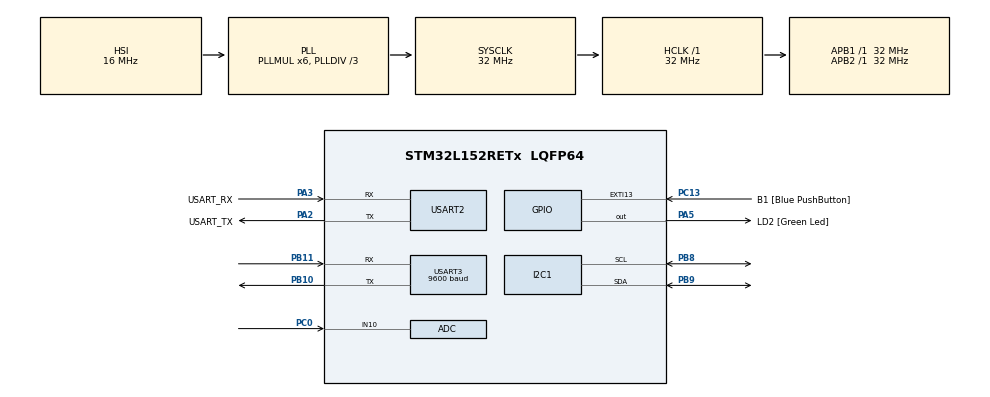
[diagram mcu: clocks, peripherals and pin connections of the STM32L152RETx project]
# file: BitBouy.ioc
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ADC.Channel-3\#ChannelRegularConversion=ADC_CHANNEL_10
ADC.NbrOfConversionFlag=1
ADC.Rank-3\#ChannelRegularConversion=1
ADC.SamplingTime-3\#ChannelRegularConversion=ADC_SAMPLETIME_4CYCLES
Mcu.Family=STM32L1
Mcu.Name=STM32L152RETx
Mcu.Package=LQFP64
NVIC.EXTI15_10_IRQn=true\:0\:0\:false\:false\:true\:true\:true\:true
NVIC.PriorityGroup=NVIC_PRIORITYGROUP_0
NVIC.RTC_WKUP_IRQn=true\:0\:0\:false\:false\:true\:true\:true\:true
NVIC.USART2_IRQn=true\:0\:0\:false\:false\:true\:true\:true\:true
NVIC.USART3_IRQn=true\:0\:0\:false\:false\:true\:true\:true\:true
PA13.GPIO_Label=TMS
PA13.Mode=Serial_Wire
PA13.Signal=SYS_JTMS-SWDIO
PA14.GPIO_Label=TCK
PA14.Mode=Serial_Wire
PA14.Signal=SYS_JTCK-SWCLK
PA2.GPIO_Label=USART_TX
PA2.Mode=Asynchronous
PA2.Signal=USART2_TX
PA3.GPIO_Label=USART_RX
PA3.Mode=Asynchronous
PA3.Signal=USART2_RX
PA5.GPIO_Label=LD2 [Green Led]
PA5.Signal=GPIO_Output
PB10.Mode=Asynchronous
PB10.Signal=USART3_TX
PB11.Mode=Asynchronous
PB11.Signal=USART3_RX
PB3.GPIO_Label=SWO
PB3.Signal=SYS_JTDO-TRACESWO
PB8.Mode=I2C
PB8.Signal=I2C1_SCL
PB9.Mode=I2C
PB9.Signal=I2C1_SDA
PC0.Mode=IN10
PC0.Signal=ADC_IN10
PC13-WKUP2.GPIO_Label=B1 [Blue PushButton]
PC13-WKUP2.GPIO_ModeDefaultEXTI=GPIO_MODE_IT_RISING
PC13-WKUP2.Signal=GPXTI13
PC14-OSC32_IN.Mode=LSE-External-Oscillator
PC14-OSC32_IN.Signal=RCC_OSC32_IN
PC15-OSC32_OUT.Mode=LSE-External-Oscillator
PC15-OSC32_OUT.Signal=RCC_OSC32_OUT
PH0-OSC_IN.Mode=HSE-External-Clock-Source
PH0-OSC_IN.Signal=RCC_OSC_IN
PH1-OSC_OUT.Signal=RCC_OSC_OUT
ProjectManager.HeapSize=0x200
ProjectManager.StackSize=0x400
ProjectManager.TargetToolchain=STM32CubeIDE
RCC.48MHZClocksFreq_Value=48000000
RCC.AHBFreq_Value=32000000
RCC.APB1Freq_Value=32000000
RCC.APB1TimFreq_Value=32000000
RCC.APB2Freq_Value=32000000
RCC.APB2TimFreq_Value=32000000
RCC.HCLKFreq_Value=32000000
RCC.HSE_VALUE=8000000
RCC.HSI_VALUE=16000000
RCC.MSI_VALUE=2097000
RCC.PLLDIV=RCC_PLL_DIV3
RCC.PLLMUL=RCC_PLL_MUL6
RCC.RTCClockSelectionVirtual=RCC_RTCCLKSOURCE_LSE
RCC.SYSCLKFreq_VALUE=32000000
RCC.SYSCLKSource=RCC_SYSCLKSOURCE_PLLCLK
RCC.USBOutput=48000000
RCC.VCOOutputFreq_Value=96000000
RTC.WakeUpCounter-WakeUp=0x500B
USART2.VirtualMode=VM_ASYNC
USART3.BaudRate=9600
USART3.VirtualMode=VM_ASYNC
VP_RTC_VS_RTC_Activate.Mode=RTC_Enabled
VP_RTC_VS_RTC_WakeUp_intern.Mode=WakeUp
board=NUCLEO-L152RE

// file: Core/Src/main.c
/* USER CODE BEGIN Header */
/**
  ******************************************************************************
  * @file           : main.c
  * @brief          : Main program body
  ******************************************************************************
  * @attention
  *
  * Copyright (c) 2024 STMicroelectronics.
  * All rights reserved.
  *
  * This software is licensed under terms that can be found in the LICENSE file
  * in the root directory of this software component.
  * If no LICENSE file comes with this software, it is provided AS-IS.
  *
  ******************************************************************************
  */
/* USER CODE END Header */
#include "main.h"

/* USER CODE BEGIN Includes */
#include "hc12.h"
#include "tds_sensor.h"
#include "queue.h"
#include "stlm75.h"
#include "hts221.h"

/* USER CODE END Includes */

/* USER CODE BEGIN PTD */
volatile uint8_t wakeup_counter = 0;
Queue message_queue;

/* USER CODE END PTD */

/* USER CODE BEGIN PD */
void UART3_Send_Command(const char *command);

/* USER CODE END PD */

ADC_HandleTypeDef hadc;

I2C_HandleTypeDef hi2c1;

RTC_HandleTypeDef hrtc;

UART_HandleTypeDef huart2;
UART_HandleTypeDef huart3;

/* USER CODE BEGIN PV */
float temperature = 0.0f;
/* USER CODE END PV */

void SystemClock_Config(void);
static void MX_GPIO_Init(void);
static void MX_USART2_UART_Init(void);
static void MX_USART3_UART_Init(void);
static void MX_ADC_Init(void);
static void MX_RTC_Init(void);
static void MX_I2C1_Init(void);

int main(void)
{

  /* MCU Configuration--------------------------------------------------------*/

  /* Reset of all peripherals, Initializes the Flash interface and the Systick. */
  HAL_Init();

  /* Configure the system clock */
  SystemClock_Config();

  /* Initialize all configured peripherals */
  MX_GPIO_Init();
  MX_USART2_UART_Init();
  MX_USART3_UART_Init();
  MX_ADC_Init();
  MX_RTC_Init();
  MX_I2C1_Init();
  /* USER CODE BEGIN 2 */
  init_queue(&message_queue);
  STLM75_HandleTypeDef stlm75;
  STLM75_Init(&stlm75, &hi2c1);
  HC12_Init(&huart3, &huart2);
  TDS_Sensor_Init(&hadc);
  HAL_RTCEx_SetWakeUpTimer_IT(&hrtc, 0x500B, RTC_WAKEUPCLOCK_RTCCLK_DIV16);

  HTS221_ReadCalibration(&hi2c1);
  float temp = 0;
  char buffer[50];
  /* USER CODE END 2 */

  /* Infinite loop */
  /* USER CODE BEGIN WHILE */
  while (1)
  {
	    HAL_SuspendTick();

	    __HAL_PWR_CLEAR_FLAG(PWR_FLAG_WU);
	    HAL_PWR_EnableWakeUpPin(PWR_WAKEUP_PIN1);

	    HAL_PWR_EnterSTOPMode(PWR_LOWPOWERREGULATOR_ON, PWR_STOPENTRY_WFI);

	    SystemClock_Config();

	    HAL_ResumeTick();

	    if (wakeup_counter >= 60) {
	        wakeup_counter = 0;

	        HAL_Delay(1000);

	        float humidity = HTS221_ReadHumidity(&hi2c1);

	        float tds_value = TDS_Sensor_Read();

	        float temperature = 0.0f;
	        if (STLM75_ReadTemperature(&stlm75, &temperature) == HAL_OK) {
	            char uart_buffer[128];
	            sprintf(uart_buffer, "Temperature: %.2f°C, TDS: %.2f, Humidity: %.2f%%\r\n", temperature, tds_value, humidity);
	            HAL_UART_Transmit(&huart2, (uint8_t*)uart_buffer, strlen(uart_buffer), HAL_MAX_DELAY);
	        } else {
	            char error_message[] = "Failed to read temperature from STLM75\r\n";
	            HAL_UART_Transmit(&huart2, (uint8_t*)error_message, strlen(error_message), HAL_MAX_DELAY);
	        }

	        char message[128];
	        sprintf(message, "ABCD1234,%.2f,%.2f,%.2f,%.2f,50.730066,18.106040,1730239978",
	                temperature, temperature, tds_value, humidity);

	        HAL_UART_Transmit(&huart2, (uint8_t*)message, strlen(message), HAL_MAX_DELAY);

	        HC12_Send_Data_With_Confirmation("REQUEST ABCD1234", message, &message_queue);
	    }

    /* USER CODE END WHILE */

  }
}

void SystemClock_Config(void)
{
  RCC_OscInitTypeDef RCC_OscInitStruct = {0};
  RCC_ClkInitTypeDef RCC_ClkInitStruct = {0};
  RCC_PeriphCLKInitTypeDef PeriphClkInit = {0};

  /** Configure the main internal regulator output voltage
  */
  __HAL_PWR_VOLTAGESCALING_CONFIG(PWR_REGULATOR_VOLTAGE_SCALE1);

  /** Initializes the RCC Oscillators according to the specified parameters
  * in the RCC_OscInitTypeDef structure.
  */
  RCC_OscInitStruct.OscillatorType = RCC_OSCILLATORTYPE_HSI|RCC_OSCILLATORTYPE_LSE;
  RCC_OscInitStruct.LSEState = RCC_LSE_ON;
  RCC_OscInitStruct.HSIState = RCC_HSI_ON;
  RCC_OscInitStruct.HSICalibrationValue = RCC_HSICALIBRATION_DEFAULT;
  RCC_OscInitStruct.PLL.PLLState = RCC_PLL_ON;
  RCC_OscInitStruct.PLL.PLLSource = RCC_PLLSOURCE_HSI;
  RCC_OscInitStruct.PLL.PLLMUL = RCC_PLL_MUL6;
  RCC_OscInitStruct.PLL.PLLDIV = RCC_PLL_DIV3;
  if (HAL_RCC_OscConfig(&RCC_OscInitStruct) != HAL_OK)
  {
    Error_Handler();
  }

  /** Initializes the CPU, AHB and APB buses clocks
  */
  RCC_ClkInitStruct.ClockType = RCC_CLOCKTYPE_HCLK|RCC_CLOCKTYPE_SYSCLK
                              |RCC_CLOCKTYPE_PCLK1|RCC_CLOCKTYPE_PCLK2;
  RCC_ClkInitStruct.SYSCLKSource = RCC_SYSCLKSOURCE_PLLCLK;
  RCC_ClkInitStruct.AHBCLKDivider = RCC_SYSCLK_DIV1;
  RCC_ClkInitStruct.APB1CLKDivider = RCC_HCLK_DIV1;
  RCC_ClkInitStruct.APB2CLKDivider = RCC_HCLK_DIV1;

  if (HAL_RCC_ClockConfig(&RCC_ClkInitStruct, FLASH_LATENCY_1) != HAL_OK)
  {
    Error_Handler();
  }
  PeriphClkInit.PeriphClockSelection = RCC_PERIPHCLK_RTC;
  PeriphClkInit.RTCClockSelection = RCC_RTCCLKSOURCE_LSE;
  if (HAL_RCCEx_PeriphCLKConfig(&PeriphClkInit) != HAL_OK)
  {
    Error_Handler();
  }
}

static void MX_ADC_Init(void)
{

  ADC_ChannelConfTypeDef sConfig = {0};

  /** Configure the global features of the ADC (Clock, Resolution, Data Alignment and number of conversion)
  */
  hadc.Instance = ADC1;
  hadc.Init.ClockPrescaler = ADC_CLOCK_ASYNC_DIV1;
  hadc.Init.Resolution = ADC_RESOLUTION_12B;
  hadc.Init.DataAlign = ADC_DATAALIGN_RIGHT;
  hadc.Init.ScanConvMode = ADC_SCAN_DISABLE;
  hadc.Init.EOCSelection = ADC_EOC_SEQ_CONV;
  hadc.Init.LowPowerAutoWait = ADC_AUTOWAIT_DISABLE;
  hadc.Init.LowPowerAutoPowerOff = ADC_AUTOPOWEROFF_DISABLE;
  hadc.Init.ChannelsBank = ADC_CHANNELS_BANK_A;
  hadc.Init.ContinuousConvMode = DISABLE;
  hadc.Init.NbrOfConversion = 1;
  hadc.Init.DiscontinuousConvMode = DISABLE;
  hadc.Init.ExternalTrigConv = ADC_SOFTWARE_START;
  hadc.Init.ExternalTrigConvEdge = ADC_EXTERNALTRIGCONVEDGE_NONE;
  hadc.Init.DMAContinuousRequests = DISABLE;
  if (HAL_ADC_Init(&hadc) != HAL_OK)
  {
    Error_Handler();
  }

  /** Configure for the selected ADC regular channel its corresponding rank in the sequencer and its sample time.
  */
  sConfig.Channel = ADC_CHANNEL_10;
  sConfig.Rank = ADC_REGULAR_RANK_1;
  sConfig.SamplingTime = ADC_SAMPLETIME_4CYCLES;
  if (HAL_ADC_ConfigChannel(&hadc, &sConfig) != HAL_OK)
  {
    Error_Handler();
  }

}

static void MX_I2C1_Init(void)
{

  hi2c1.Instance = I2C1;
  hi2c1.Init.ClockSpeed = 100000;
  hi2c1.Init.DutyCycle = I2C_DUTYCYCLE_2;
  hi2c1.Init.OwnAddress1 = 0;
  hi2c1.Init.AddressingMode = I2C_ADDRESSINGMODE_7BIT;
  hi2c1.Init.DualAddressMode = I2C_DUALADDRESS_DISABLE;
  hi2c1.Init.OwnAddress2 = 0;
  hi2c1.Init.GeneralCallMode = I2C_GENERALCALL_DISABLE;
  hi2c1.Init.NoStretchMode = I2C_NOSTRETCH_DISABLE;
  if (HAL_I2C_Init(&hi2c1) != HAL_OK)
  {
    Error_Handler();
  }

}

static void MX_RTC_Init(void)
{

  RTC_TimeTypeDef sTime = {0};
  RTC_DateTypeDef sDate = {0};

  /** Initialize RTC Only
  */
  hrtc.Instance = RTC;
  hrtc.Init.HourFormat = RTC_HOURFORMAT_24;
  hrtc.Init.AsynchPrediv = 127;
  hrtc.Init.SynchPrediv = 255;
  hrtc.Init.OutPut = RTC_OUTPUT_DISABLE;
  hrtc.Init.OutPutPolarity = RTC_OUTPUT_POLARITY_HIGH;
  hrtc.Init.OutPutType = RTC_OUTPUT_TYPE_OPENDRAIN;
  if (HAL_RTC_Init(&hrtc) != HAL_OK)
  {
    Error_Handler();
  }

  /** Initialize RTC and set the Time and Date
  */
  sTime.Hours = 0x0;
  sTime.Minutes = 0x0;
  sTime.Seconds = 0x0;
  sTime.DayLightSaving = RTC_DAYLIGHTSAVING_NONE;
  sTime.StoreOperation = RTC_STOREOPERATION_RESET;
  if (HAL_RTC_SetTime(&hrtc, &sTime, RTC_FORMAT_BCD) != HAL_OK)
  {
    Error_Handler();
  }
  sDate.WeekDay = RTC_WEEKDAY_MONDAY;
  sDate.Month = RTC_MONTH_JANUARY;
  sDate.Date = 0x1;
  sDate.Year = 0x0;

  if (HAL_RTC_SetDate(&hrtc, &sDate, RTC_FORMAT_BCD) != HAL_OK)
  {
    Error_Handler();
  }

  /** Enable the WakeUp
  */
  if (HAL_RTCEx_SetWakeUpTimer_IT(&hrtc, 0x500B, RTC_WAKEUPCLOCK_RTCCLK_DIV16) != HAL_OK)
  {
    Error_Handler();
  }

}

static void MX_USART2_UART_Init(void)
{

  huart2.Instance = USART2;
  huart2.Init.BaudRate = 115200;
  huart2.Init.WordLength = UART_WORDLENGTH_8B;
  huart2.Init.StopBits = UART_STOPBITS_1;
  huart2.Init.Parity = UART_PARITY_NONE;
  huart2.Init.Mode = UART_MODE_TX_RX;
  huart2.Init.HwFlowCtl = UART_HWCONTROL_NONE;
  huart2.Init.OverSampling = UART_OVERSAMPLING_16;
  if (HAL_UART_Init(&huart2) != HAL_OK)
  {
    Error_Handler();
  }

}

static void MX_USART3_UART_Init(void)
{

  huart3.Instance = USART3;
  huart3.Init.BaudRate = 9600;
  huart3.Init.WordLength = UART_WORDLENGTH_8B;
  huart3.Init.StopBits = UART_STOPBITS_1;
  huart3.Init.Parity = UART_PARITY_NONE;
  huart3.Init.Mode = UART_MODE_TX_RX;
  huart3.Init.HwFlowCtl = UART_HWCONTROL_NONE;
  huart3.Init.OverSampling = UART_OVERSAMPLING_16;
  if (HAL_UART_Init(&huart3) != HAL_OK)
  {
    Error_Handler();
  }

}

static void MX_GPIO_Init(void)
{
  GPIO_InitTypeDef GPIO_InitStruct = {0};

  /* GPIO Ports Clock Enable */
  __HAL_RCC_GPIOC_CLK_ENABLE();
  __HAL_RCC_GPIOH_CLK_ENABLE();
  __HAL_RCC_GPIOA_CLK_ENABLE();
  __HAL_RCC_GPIOB_CLK_ENABLE();

  /*Configure GPIO pin Output Level */
  HAL_GPIO_WritePin(LD2_GPIO_Port, LD2_Pin, GPIO_PIN_RESET);

  /*Configure GPIO pin : B1_Pin */
  GPIO_InitStruct.Pin = B1_Pin;
  GPIO_InitStruct.Mode = GPIO_MODE_IT_RISING;
  GPIO_InitStruct.Pull = GPIO_NOPULL;
  HAL_GPIO_Init(B1_GPIO_Port, &GPIO_InitStruct);

  /*Configure GPIO pin : LD2_Pin */
  GPIO_InitStruct.Pin = LD2_Pin;
  GPIO_InitStruct.Mode = GPIO_MODE_OUTPUT_PP;
  GPIO_InitStruct.Pull = GPIO_NOPULL;
  GPIO_InitStruct.Speed = GPIO_SPEED_FREQ_LOW;
  HAL_GPIO_Init(LD2_GPIO_Port, &GPIO_InitStruct);

  /* EXTI interrupt init*/
  HAL_NVIC_SetPriority(EXTI15_10_IRQn, 0, 0);
  HAL_NVIC_EnableIRQ(EXTI15_10_IRQn);

}

/* USER CODE BEGIN 4 */

void HAL_GPIO_EXTI_Callback(uint16_t GPIO_Pin) {
    if (GPIO_Pin == GPIO_PIN_13) {
        __HAL_PWR_CLEAR_FLAG(PWR_FLAG_WU);
        wakeup_counter = 62;
    }
}
void HAL_RTCEx_WakeUpTimerEventCallback(RTC_HandleTypeDef *hrtc) {
    __HAL_PWR_CLEAR_FLAG(PWR_FLAG_WU);
    wakeup_counter++;
}

/* USER CODE END 4 */

void Error_Handler(void)
{
  __disable_irq();
  while (1)
  {
  }
}
